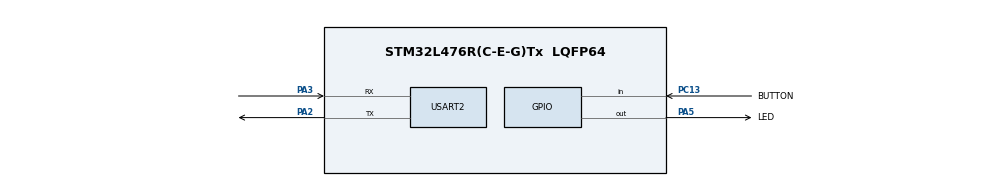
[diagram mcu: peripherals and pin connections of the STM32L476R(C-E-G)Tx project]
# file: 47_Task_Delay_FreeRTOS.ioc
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FREERTOS.Tasks01=defaultTask,0,128,StartDefaultTask,Default,NULL,Dynamic,NULL,NULL
Mcu.Family=STM32L4
Mcu.Name=STM32L476R(C-E-G)Tx
Mcu.Package=LQFP64
NVIC.PriorityGroup=NVIC_PRIORITYGROUP_4
PA2.Mode=Asynchronous
PA2.Signal=USART2_TX
PA3.Mode=Asynchronous
PA3.Signal=USART2_RX
PA5.GPIO_Label=LED
PA5.PinState=GPIO_PIN_RESET
PA5.Signal=GPIO_Output
PC13.GPIO_Label=BUTTON
PC13.GPIO_PuPd=GPIO_PULLUP
PC13.Signal=GPIO_Input
ProjectManager.HeapSize=0x200
ProjectManager.StackSize=0x400
ProjectManager.TargetToolchain=STM32CubeIDE
RCC.HSE_VALUE=8000000
RCC.HSI_VALUE=16000000
RCC.LSE_VALUE=32768
RCC.MSI_VALUE=4000000
RCC.VCOOutputFreq_Value=32000000
USART2.VirtualMode-Asynchronous=VM_ASYNC
VP_FREERTOS_VS_CMSIS_V1.Mode=CMSIS_V1
board=custom

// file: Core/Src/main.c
/* USER CODE BEGIN Header */
/**
  ******************************************************************************
  * @file           : main.c
  * @brief          : Main program body
  ******************************************************************************
  * @attention
  *
  * Copyright (c) 2026 STMicroelectronics.
  * All rights reserved.
  *
  * This software is licensed under terms that can be found in the LICENSE file
  * in the root directory of this software component.
  * If no LICENSE file comes with this software, it is provided AS-IS.
  *
  ******************************************************************************
  */
/* USER CODE END Header */
#include "main.h"
#include "cmsis_os.h"

/* USER CODE BEGIN Includes */
#include<stdio.h>
/* USER CODE END Includes */

/* USER CODE BEGIN PD */
#define FALSE 0
#define TRUE 1
/* USER CODE END PD */

UART_HandleTypeDef huart2;

osThreadId defaultTaskHandle;
/* USER CODE BEGIN PV */

TaskHandle_t xTaskHandle1 = NULL;
TaskHandle_t xTaskHandle2 = NULL;

uint8_t switch_priority = FALSE;

/* USER CODE END PV */

void SystemClock_Config(void);
static void MX_GPIO_Init(void);
static void MX_USART2_UART_Init(void);
void StartDefaultTask(void const * argument);

/* USER CODE BEGIN 0 */
void led_task_handler(void *params)
{
	printf("led task\r\n");
	while(1)
	{
		printf("Led state: %d\r\n",HAL_GPIO_ReadPin(LED_GPIO_Port, LED_Pin));
		vTaskDelay(pdMS_TO_TICKS(1000));
	}

}

void button_Task_handler(void *params)
{
	printf("button task\r\n");
	while(1)
	{
		HAL_GPIO_TogglePin(LED_GPIO_Port, LED_Pin);
		vTaskDelay(pdMS_TO_TICKS(1000));
	}
}

/* USER CODE END 0 */

int main(void)
{

  /* MCU Configuration--------------------------------------------------------*/

  /* Reset of all peripherals, Initializes the Flash interface and the Systick. */
  HAL_Init();

  /* Configure the system clock */
  SystemClock_Config();

  /* Initialize all configured peripherals */
  MX_GPIO_Init();
  MX_USART2_UART_Init();
  /* USER CODE BEGIN 2 */
  printf("Testing the SVW...\n");

  /* USER CODE END 2 */

  /* Create the thread(s) */
  /* definition and creation of defaultTask */
  osThreadDef(defaultTask, StartDefaultTask, osPriorityNormal, 0, 128);
  defaultTaskHandle = osThreadCreate(osThread(defaultTask), NULL);

  /* USER CODE BEGIN RTOS_THREADS */
  /* add threads, ... */
  //create Led task
  xTaskCreate(led_task_handler,
		  "Led-Task",
		  200,
		  NULL,
		  1,
		  &xTaskHandle1);

  //create button task
  xTaskCreate(button_Task_handler,
		  "Button-Task",
		  200,
		  NULL,
		  2,
		  &xTaskHandle2);
  /* USER CODE END RTOS_THREADS */

  /* Start scheduler */
  osKernelStart();

  /* We should never get here as control is now taken by the scheduler */

  /* Infinite loop */
  while (1)
  {

  }
}

void SystemClock_Config(void)
{
  RCC_OscInitTypeDef RCC_OscInitStruct = {0};
  RCC_ClkInitTypeDef RCC_ClkInitStruct = {0};

  /** Configure the main internal regulator output voltage
  */
  if (HAL_PWREx_ControlVoltageScaling(PWR_REGULATOR_VOLTAGE_SCALE1) != HAL_OK)
  {
    Error_Handler();
  }

  /** Initializes the RCC Oscillators according to the specified parameters
  * in the RCC_OscInitTypeDef structure.
  */
  RCC_OscInitStruct.OscillatorType = RCC_OSCILLATORTYPE_MSI;
  RCC_OscInitStruct.MSIState = RCC_MSI_ON;
  RCC_OscInitStruct.MSICalibrationValue = 0;
  RCC_OscInitStruct.MSIClockRange = RCC_MSIRANGE_6;
  RCC_OscInitStruct.PLL.PLLState = RCC_PLL_NONE;
  if (HAL_RCC_OscConfig(&RCC_OscInitStruct) != HAL_OK)
  {
    Error_Handler();
  }

  /** Initializes the CPU, AHB and APB buses clocks
  */
  RCC_ClkInitStruct.ClockType = RCC_CLOCKTYPE_HCLK|RCC_CLOCKTYPE_SYSCLK
                              |RCC_CLOCKTYPE_PCLK1|RCC_CLOCKTYPE_PCLK2;
  RCC_ClkInitStruct.SYSCLKSource = RCC_SYSCLKSOURCE_MSI;
  RCC_ClkInitStruct.AHBCLKDivider = RCC_SYSCLK_DIV1;
  RCC_ClkInitStruct.APB1CLKDivider = RCC_HCLK_DIV1;
  RCC_ClkInitStruct.APB2CLKDivider = RCC_HCLK_DIV1;

  if (HAL_RCC_ClockConfig(&RCC_ClkInitStruct, FLASH_LATENCY_0) != HAL_OK)
  {
    Error_Handler();
  }
}

static void MX_USART2_UART_Init(void)
{

  huart2.Instance = USART2;
  huart2.Init.BaudRate = 115200;
  huart2.Init.WordLength = UART_WORDLENGTH_8B;
  huart2.Init.StopBits = UART_STOPBITS_1;
  huart2.Init.Parity = UART_PARITY_NONE;
  huart2.Init.Mode = UART_MODE_TX_RX;
  huart2.Init.HwFlowCtl = UART_HWCONTROL_NONE;
  huart2.Init.OverSampling = UART_OVERSAMPLING_16;
  huart2.Init.OneBitSampling = UART_ONE_BIT_SAMPLE_DISABLE;
  huart2.AdvancedInit.AdvFeatureInit = UART_ADVFEATURE_NO_INIT;
  if (HAL_UART_Init(&huart2) != HAL_OK)
  {
    Error_Handler();
  }

}

static void MX_GPIO_Init(void)
{
  GPIO_InitTypeDef GPIO_InitStruct = {0};

  /* GPIO Ports Clock Enable */
  __HAL_RCC_GPIOC_CLK_ENABLE();
  __HAL_RCC_GPIOA_CLK_ENABLE();

  /*Configure GPIO pin Output Level */
  HAL_GPIO_WritePin(LED_GPIO_Port, LED_Pin, GPIO_PIN_RESET);

  /*Configure GPIO pin : BUTTON_Pin */
  GPIO_InitStruct.Pin = BUTTON_Pin;
  GPIO_InitStruct.Mode = GPIO_MODE_INPUT;
  GPIO_InitStruct.Pull = GPIO_PULLUP;
  HAL_GPIO_Init(BUTTON_GPIO_Port, &GPIO_InitStruct);

  /*Configure GPIO pin : LED_Pin */
  GPIO_InitStruct.Pin = LED_Pin;
  GPIO_InitStruct.Mode = GPIO_MODE_OUTPUT_PP;
  GPIO_InitStruct.Pull = GPIO_NOPULL;
  GPIO_InitStruct.Speed = GPIO_SPEED_FREQ_LOW;
  HAL_GPIO_Init(LED_GPIO_Port, &GPIO_InitStruct);

}

void StartDefaultTask(void const * argument)
{
  for(;;)
  {
    osDelay(1);
  }
}

void Error_Handler(void)
{
  __disable_irq();
  while (1)
  {
  }
}
